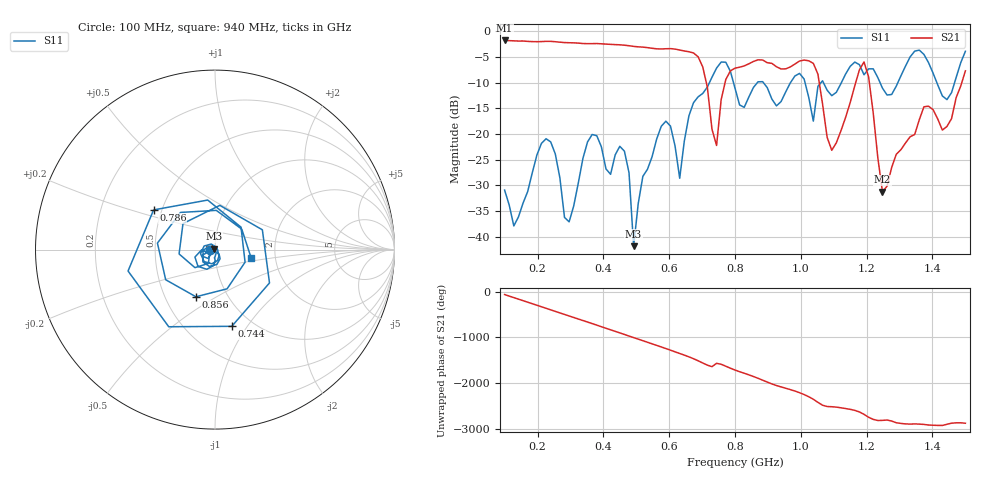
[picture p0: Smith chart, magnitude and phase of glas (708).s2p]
! NanoVNA-App
! Date: 2025-09-25 16:00:59
! Start: 100MHz Stop: 1,5GHz Points: 101
! S-Parameter data: F S11 S21 S12 S22
# Hz S RI R 50
!  Frequency  S11_Real  S11_Imag  S21_Real  S21_Imag  S12_Real  S12_Imag  S22_Real  S22_Imag
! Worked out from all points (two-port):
!   101 points, 100 MHz to 1.5 GHz, reference 50 ohm
!   highest |S21| = -1.80 dB at 100 MHz (marker M1); lowest = -31.2 dB at 1.248 GHz (marker M2)
!   |S21| within 3 dB of the highest: start of sweep to 684.5 MHz
!   lowest |S11| = -41.8 dB at 492 MHz (marker M3), VSWR 1.02, Z = 49.5 + j0.606 ohm
!   |S11| at or under -10 dB: start of sweep to 722.4 MHz; 795.4 MHz to 868 MHz (72.66 MHz wide, 8.74 % of centre); 886.2 MHz to 968.6 MHz (82.45 MHz wide, 8.89 % of centre) (the widest 3 of 7)
!   S12 and S22 are empty: the file has one direction only
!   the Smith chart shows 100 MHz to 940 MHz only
!   S11 on the Smith chart (normalised r, x): 100 MHz: 0.94, -0.01; 744 MHz: 0.81, -0.85; 786 MHz: 0.45, +0.24; 856 MHz: 0.71, -0.41; 940 MHz: 1.50, -0.14
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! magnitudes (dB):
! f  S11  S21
! 100 MHz  -30.9  -1.8
! 128 MHz  -37.9  -1.9
! 226 MHz  -20.9  -2.0
! 296 MHz  -37.1  -2.2
! 338 MHz  -24.7  -2.4
! 464 MHz  -23.3  -2.7
! 492 MHz  -41.8  -3.0
! 576 MHz  -18.5  -3.5
! 632 MHz  -28.6  -3.7
! 702 MHz  -12.1  -7.0
! 744 MHz  -7.2  -22.2
! 786 MHz  -7.8  -7.7
! 800 MHz  -11.1  -7.2
! 856 MHz  -11.0  -5.9
! 940 MHz  -13.7  -7.4
! 996 MHz  -8.2  -5.8
! 1.038 GHz  -17.5  -6.3
! 1.094 GHz  -12.5  -23.2
! 1.192 GHz  -8.5  -6.0
! 1.248 GHz  -11.1  -31.2
! 1.276 GHz  -12.3  -26.5
! 1.5 GHz  -3.9  -7.7
